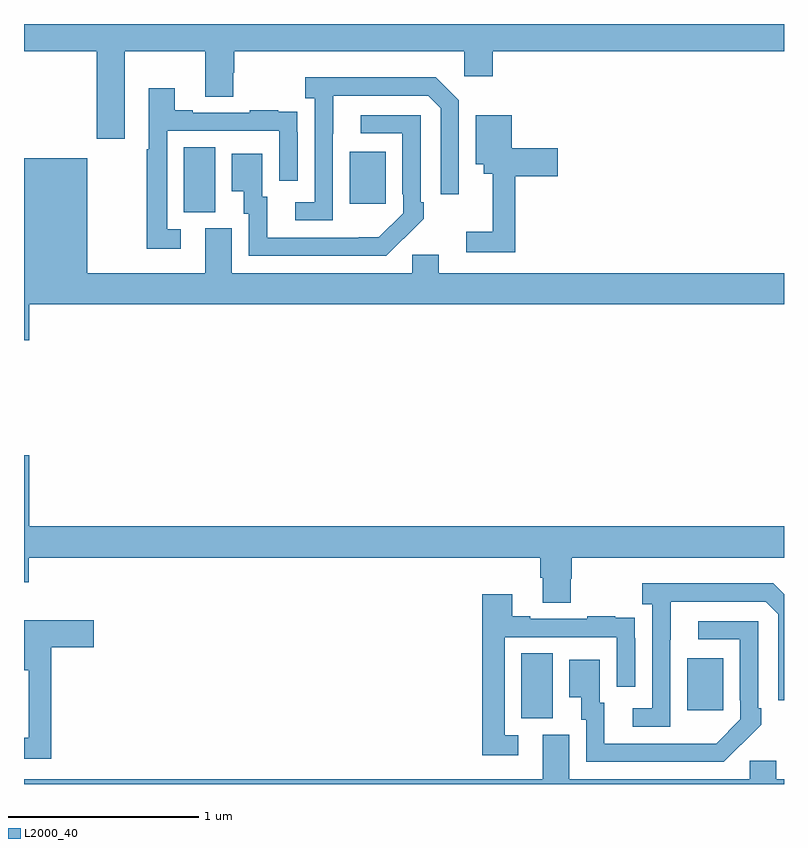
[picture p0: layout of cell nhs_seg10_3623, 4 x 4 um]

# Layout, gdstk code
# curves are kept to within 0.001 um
import gdstk
lib = gdstk.Library(unit=1e-6, precision=1e-09)
def R(c, l, rs):  # rectangles x0, y0, x1, y1
    for r in rs: c.add(gdstk.rectangle(r[:2], r[2:], *l))
def P(c, l, *ps):  # polygons
    for p in ps: c.add(gdstk.Polygon(p, *l))
L2000_40 = (2000, 40)

nhs_seg10_3623 = lib.new_cell('nhs_seg10_3623')
R(nhs_seg10_3623, L2000_40, [(311.618,1256.845,311.782,1257.188), (312.491,1256.889,312.679,1257.163), (309.842,1259.509,310.006,1259.852), (310.715,1259.553,310.903,1259.827)])
P(nhs_seg10_3623, L2000_40, [(309.529,1260.356),(309.953,1260.356),(309.953,1260.118),(310.101,1260.118),(310.101,1260.243),(310.106,1260.243),(310.106,1260.356),(311.316,1260.356),(311.316,1260.225),(311.468,1260.225),(311.468,1260.356),(313,1260.356),(313,1260.5),(309,1260.5),(309,1260.356),(309.382,1260.356),(309.382,1259.895),(309.529,1259.895)],
  [(310.626,1259.923),(310.627,1260.123),(311.127,1260.123),(311.193,1260.057),(311.193,1259.604),(311.289,1259.604),(311.289,1260.099),(311.168,1260.22),(310.479,1260.22),(310.479,1260.11),(310.53,1260.11),(310.53,1259.562),(310.428,1259.562),(310.428,1259.466),(310.626,1259.466)],
  [(309.826,1259.421),(309.753,1259.421),(309.753,1259.937),(310.344,1259.937),(310.344,1259.676),(310.44,1259.676),(310.44,1259.93),(310.439,1259.93),(310.439,1260.039),(310.337,1260.039),(310.337,1260.046),(310.189,1260.046),(310.189,1260.033),(309.889,1260.033),(309.889,1260.046),(309.793,1260.046),(309.793,1260.163),(309.657,1260.163),(309.657,1259.84),(309.645,1259.84),(309.645,1259.316),(309.826,1259.316)],
  [(310.997,1259.371),(310.998,1259.37),(311.103,1259.475),(311.103,1259.563),(311.088,1259.563),(311.088,1260.021),(310.773,1260.021),(310.773,1259.925),(310.992,1259.925),(310.992,1259.605),(310.995,1259.605),(310.995,1259.505),(310.867,1259.377),(310.279,1259.376),(310.279,1259.592),(310.255,1259.592),(310.255,1259.818),(310.094,1259.818),(310.094,1259.621),(310.157,1259.621),(310.157,1259.502),(310.182,1259.502),(310.182,1259.28),(310.906,1259.28)],
  [(311.585,1259.699),(311.809,1259.699),(311.809,1259.846),(311.566,1259.846),(311.566,1260.019),(311.378,1260.019),(311.378,1259.762),(311.42,1259.762),(311.42,1259.711),(311.468,1259.711),(311.468,1259.407),(311.328,1259.407),(311.328,1259.298),(311.585,1259.298)],
  [(309.028,1259.024),(313,1259.024),(313,1259.188),(311.182,1259.188),(311.182,1259.286),(311.043,1259.286),(311.043,1259.188),(310.093,1259.188),(310.093,1259.424),(309.953,1259.424),(309.953,1259.188),(309.334,1259.188),(309.334,1259.794),(309,1259.794),(309,1258.836),(309.028,1258.836)],
  [(311.877,1257.579),(311.882,1257.579),(311.882,1257.692),(313,1257.692),(313,1257.856),(309.028,1257.856),(309.028,1258.231),(309,1258.231),(309,1257.561),(309.026,1257.561),(309.026,1257.692),(311.717,1257.692),(311.717,1257.586),(311.729,1257.586),(311.729,1257.454),(311.877,1257.454)],
  [(312.402,1257.259),(312.403,1257.459),(312.903,1257.459),(312.969,1257.393),(312.969,1256.94),(313,1256.94),(313,1257.5),(312.944,1257.556),(312.255,1257.556),(312.255,1257.446),(312.306,1257.446),(312.306,1256.898),(312.204,1256.898),(312.204,1256.802),(312.402,1256.802)],
  [(311.602,1256.757),(311.529,1256.757),(311.529,1257.273),(312.12,1257.273),(312.12,1257.012),(312.216,1257.012),(312.216,1257.266),(312.215,1257.266),(312.215,1257.375),(312.113,1257.375),(312.113,1257.382),(311.965,1257.382),(311.965,1257.369),(311.665,1257.369),(311.665,1257.382),(311.569,1257.382),(311.569,1257.499),(311.413,1257.499),(311.413,1256.652),(311.602,1256.652)],
  [(309.143,1257.221),(309.367,1257.221),(309.367,1257.363),(309,1257.363),(309,1257.098),(309.026,1257.098),(309.026,1256.743),(309,1256.743),(309,1256.634),(309.143,1256.634)],
  [(312.773,1256.707),(312.774,1256.706),(312.879,1256.811),(312.879,1256.899),(312.864,1256.899),(312.864,1257.357),(312.549,1257.357),(312.549,1257.261),(312.768,1257.261),(312.768,1256.941),(312.771,1256.941),(312.771,1256.841),(312.643,1256.713),(312.055,1256.712),(312.055,1256.928),(312.031,1256.928),(312.031,1257.154),(311.87,1257.154),(311.87,1256.957),(311.933,1256.957),(311.933,1256.838),(311.958,1256.838),(311.958,1256.616),(312.682,1256.616)],
  [(313,1256.524),(312.958,1256.524),(312.958,1256.622),(312.819,1256.622),(312.819,1256.524),(311.869,1256.524),(311.869,1256.76),(311.729,1256.76),(311.729,1256.524),(309,1256.524),(309,1256.5),(313,1256.5)])

lib.write_gds('nhs_seg10_3623.gds')
